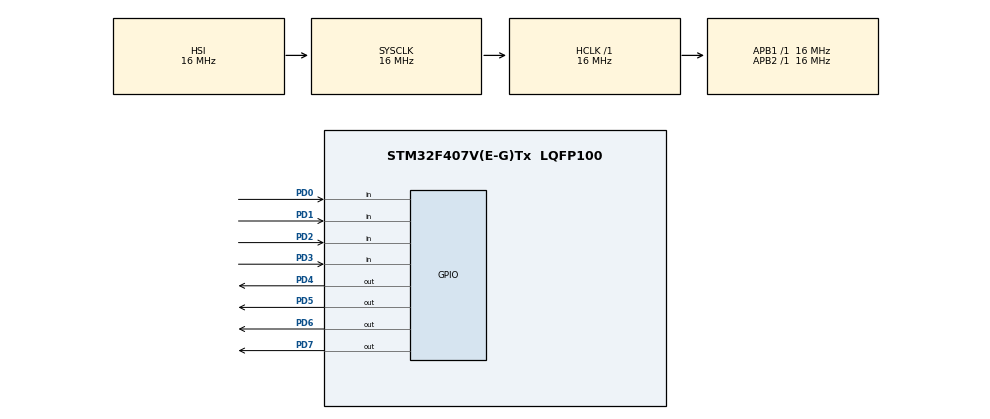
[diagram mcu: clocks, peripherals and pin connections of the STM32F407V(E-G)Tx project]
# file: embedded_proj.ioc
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Mcu.Family=STM32F4
Mcu.Name=STM32F407V(E-G)Tx
Mcu.Package=LQFP100
NVIC.PriorityGroup=NVIC_PRIORITYGROUP_4
PD0.Signal=GPIO_Input
PD1.Signal=GPIO_Input
PD2.Signal=GPIO_Input
PD3.Signal=GPIO_Input
PD4.Signal=GPIO_Output
PD5.Signal=GPIO_Output
PD6.Signal=GPIO_Output
PD7.Signal=GPIO_Output
ProjectManager.HeapSize=0x200
ProjectManager.StackSize=0x400
ProjectManager.TargetToolchain=MDK-ARM V5
RCC.AHBFreq_Value=16000000
RCC.APB1Freq_Value=16000000
RCC.APB2Freq_Value=16000000
RCC.CortexFreq_Value=16000000
RCC.HSE_VALUE=25000000
RCC.HSI_VALUE=16000000
RCC.LSE_VALUE=32768
RCC.SYSCLKFreq_VALUE=16000000
RCC.VCOOutputFreq_Value=192000000
board=custom

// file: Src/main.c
/* USER CODE BEGIN Header */
/**
  ******************************************************************************
  * @file           : main.c
  * @brief          : Main program body
  ******************************************************************************
  * @attention
  *
  * Copyright (c) 2023 STMicroelectronics.
  * All rights reserved.
  *
  * This software is licensed under terms that can be found in the LICENSE file
  * in the root directory of this software component.
  * If no LICENSE file comes with this software, it is provided AS-IS.
  *
  ******************************************************************************
  */
/* USER CODE END Header */
#include "main.h"
#include "MY_Keypad4x4.h"
#include "stm32f4xx_hal.h"
#include "stdbool.h"

void SystemClock_Config(void);
static void MX_GPIO_Init(void);

/* USER CODE BEGIN 0 */
bool myswitch[16];
/* USER CODE END 0 */

int main(void)
{
  /* USER CODE BEGIN 1 */
	Keypad_WiresTypeDef mykeypadstruct;

  /* USER CODE END 1 */

  /* MCU Configuration--------------------------------------------------------*/

  /* Reset of all peripherals, Initializes the Flash interface and the Systick. */
  HAL_Init();

  /* Configure the system clock */
  SystemClock_Config();

  /* Initialize all configured peripherals */
  MX_GPIO_Init();
  /* USER CODE BEGIN 2 */
	mykeypadstruct.IN0_Port = GPIOD;
	mykeypadstruct.IN1_Port = GPIOD;
	mykeypadstruct.IN2_Port = GPIOD;
	mykeypadstruct.IN3_Port = GPIOD;

	mykeypadstruct.OUT0_Port = GPIOD;
	mykeypadstruct.OUT1_Port = GPIOD;
	mykeypadstruct.OUT2_Port = GPIOD;
	mykeypadstruct.OUT3_Port = GPIOD;

	mykeypadstruct.IN0pin = GPIO_PIN_0;
	mykeypadstruct.IN1pin = GPIO_PIN_1;
	mykeypadstruct.IN2pin = GPIO_PIN_2;
	mykeypadstruct.IN3pin = GPIO_PIN_3;
	mykeypadstruct.OUT0pin = GPIO_PIN_0;
	mykeypadstruct.OUT1pin = GPIO_PIN_1;
	mykeypadstruct.OUT2pin = GPIO_PIN_2;
	mykeypadstruct.OUT3pin = GPIO_PIN_3;

	Keypad4x4_Init(&mykeypadstruct);
  /* USER CODE END 2 */

  /* Infinite loop */
  while (1)
  {
		Keypad4x4_ReadKeypad(myswitch);
		HAL_Delay(100);
  }
}

void Init_led(void)
{
	 __HAL_RCC_GPIOD_CLK_ENABLE();
	GPIO_InitTypeDef LED_BLINK;
	LED_BLINK.Mode = GPIO_MODE_OUTPUT_PP;
	LED_BLINK.Pin = GPIO_PIN_12|GPIO_PIN_13|GPIO_PIN_14|GPIO_PIN_15;
	LED_BLINK.Pull = GPIO_NOPULL;
	HAL_GPIO_Init(GPIOD, &LED_BLINK);
}
void Delay_ms(int t)
{
	int j;
   	for(j = 0; j < t*4200; j++)
            {}
}

void SystemClock_Config(void)
{
  RCC_OscInitTypeDef RCC_OscInitStruct = {0};
  RCC_ClkInitTypeDef RCC_ClkInitStruct = {0};

  /** Configure the main internal regulator output voltage
  */
  __HAL_RCC_PWR_CLK_ENABLE();
  __HAL_PWR_VOLTAGESCALING_CONFIG(PWR_REGULATOR_VOLTAGE_SCALE1);

  /** Initializes the RCC Oscillators according to the specified parameters
  * in the RCC_OscInitTypeDef structure.
  */
  RCC_OscInitStruct.OscillatorType = RCC_OSCILLATORTYPE_HSI;
  RCC_OscInitStruct.HSIState = RCC_HSI_ON;
  RCC_OscInitStruct.HSICalibrationValue = RCC_HSICALIBRATION_DEFAULT;
  RCC_OscInitStruct.PLL.PLLState = RCC_PLL_NONE;
  if (HAL_RCC_OscConfig(&RCC_OscInitStruct) != HAL_OK)
  {
    Error_Handler();
  }

  /** Initializes the CPU, AHB and APB buses clocks
  */
  RCC_ClkInitStruct.ClockType = RCC_CLOCKTYPE_HCLK|RCC_CLOCKTYPE_SYSCLK
                              |RCC_CLOCKTYPE_PCLK1|RCC_CLOCKTYPE_PCLK2;
  RCC_ClkInitStruct.SYSCLKSource = RCC_SYSCLKSOURCE_HSI;
  RCC_ClkInitStruct.AHBCLKDivider = RCC_SYSCLK_DIV1;
  RCC_ClkInitStruct.APB1CLKDivider = RCC_HCLK_DIV1;
  RCC_ClkInitStruct.APB2CLKDivider = RCC_HCLK_DIV1;

  if (HAL_RCC_ClockConfig(&RCC_ClkInitStruct, FLASH_LATENCY_0) != HAL_OK)
  {
    Error_Handler();
  }
}

static void MX_GPIO_Init(void)
{
  GPIO_InitTypeDef GPIO_InitStruct = {0};

  /* GPIO Ports Clock Enable */
  __HAL_RCC_GPIOD_CLK_ENABLE();

  /*Configure GPIO pin Output Level */
  HAL_GPIO_WritePin(GPIOD, GPIO_PIN_4|GPIO_PIN_5|GPIO_PIN_6|GPIO_PIN_7, GPIO_PIN_RESET);

  /*Configure GPIO pins : PD0 PD1 PD2 PD3 */
  GPIO_InitStruct.Pin = GPIO_PIN_0|GPIO_PIN_1|GPIO_PIN_2|GPIO_PIN_3;
  GPIO_InitStruct.Mode = GPIO_MODE_INPUT;
  GPIO_InitStruct.Pull = GPIO_NOPULL;
  HAL_GPIO_Init(GPIOD, &GPIO_InitStruct);

  /*Configure GPIO pins : PD4 PD5 PD6 PD7 */
  GPIO_InitStruct.Pin = GPIO_PIN_4|GPIO_PIN_5|GPIO_PIN_6|GPIO_PIN_7;
  GPIO_InitStruct.Mode = GPIO_MODE_OUTPUT_PP;
  GPIO_InitStruct.Pull = GPIO_NOPULL;
  GPIO_InitStruct.Speed = GPIO_SPEED_FREQ_LOW;
  HAL_GPIO_Init(GPIOD, &GPIO_InitStruct);

}

void Error_Handler(void)
{
  __disable_irq();
  while (1)
  {
  }
}
